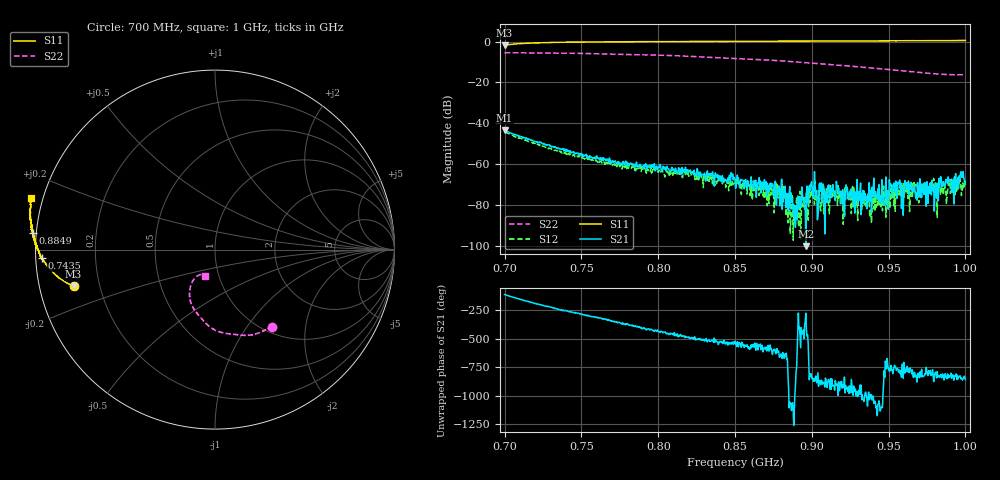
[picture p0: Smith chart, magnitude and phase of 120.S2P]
! C:\Users\rflab\Downloads\Lab5_KD_ZW\Q2\728 MHz\120.S2P
! Touchstone 1.1 file saved by VNA.EXE V1.65 (www.ke5fx.com/gpib/readme.htm)
! 11/18/2024 9:16:32 PM
!  Source: HEWLETT PACKARD,8753D,0,6.14
!  Min freq: 7.000000E+008 Hz
!  Max freq: 1.000000E+009 Hz
!  Points: 801
!  Params: S11 S21 S12 S22
# GHZ S MA R 50
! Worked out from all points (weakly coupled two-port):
!   801 points, 700 MHz to 1 GHz, reference 50 ohm
!   highest |S21| = -43.45 dB at 700 MHz (marker M1); lowest = -100.0 dB at 896.1 MHz (marker M2)
!   lowest |S11| = -1.8 dB at 700 MHz (marker M3), VSWR 9.77, Z = 5.2 - j6.31 ohm
!   |S11| at or under -10 dB: nowhere
!   |S22| runs from -16.3 to -5.5 dB; largest |S21 - S12| = 0.0022
!   S11 on the Smith chart (normalised r, x): 700 MHz: 0.10, -0.13; 743.5 MHz: 0.02, -0.02; 884.9 MHz: -0.01, +0.05; 1 GHz: -0.03, +0.14
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0.7  0.8143 -165.5  0.006722 -114.2  0.006173 -132.0  0.5334 -53.7
0.7435  0.9646 -177.2  0.001888 91.8  0.001731 70.1  0.5181 -66.1
0.75025  0.9724 -177.9  0.001592 73.3  0.001491 60.1  0.5134 -68.5
0.800125  0.9972 178.7  0.000855 -76.2  0.000634 -93.2  0.4641 -85.1
0.85  1.013 176.2  0.000429 -162.6  0.000348 148.3  0.3846 -102.5
0.870625  1.015 175.5  0.00017 112.2  0.000151 110.4  0.354 -109.0
0.88  1.02 174.9  0.000254 87.0  0.000159 78.4  0.3375 -112.4
0.884875  1.019 174.7  7e-05 153.2  0.000202 53.3  0.3277 -114.0
0.889  1.022 174.4  3.7e-05 93.9  0.000107 -7.5  0.32 -115.4
0.896125  1.023 174.2  1e-05 82.5  6.9e-05 -83.2  0.3052 -117.3
0.90025  1.025 174.0  0.000246 -131.8  0.000189 -149.4  0.2967 -118.3
0.903625  1.026 173.7  4.4e-05 -118.1  0.000161 -141.1  0.2898 -119.0
0.9175  1.028 173.1  0.000265 -157.7  0.000139 -167.5  0.2639 -122.2
0.9205  1.03 172.9  9.7e-05 150.3  3.4e-05 169.7  0.2581 -122.5
0.93775  1.036 171.7  0.000173 53.4  5.5e-05 41.8  0.228 -124.8
0.946  1.042 170.7  0.000145 -23.3  7.3e-05 97.2  0.214 -125.3
0.950125  1.048 170.5  0.000186 -42.5  0.000151 -14.7  0.2073 -125.4
0.980875  1.054 167.7  0.000347 -96.9  0.000272 -109.5  0.1625 -120.6
0.98425  1.052 167.3  0.000447 -107.7  0.000281 -114.3  0.1591 -119.0
0.99175  1.06 165.9  0.000206 -96.3  0.000271 -129.7  0.1544 -115.1
0.997375  1.062 164.9  0.0006 -122.0  0.000172 -165.6  0.1544 -112.0
1  1.063 164.4  0.000348 -138.8  0.000312 -121.4  0.1556 -110.5
